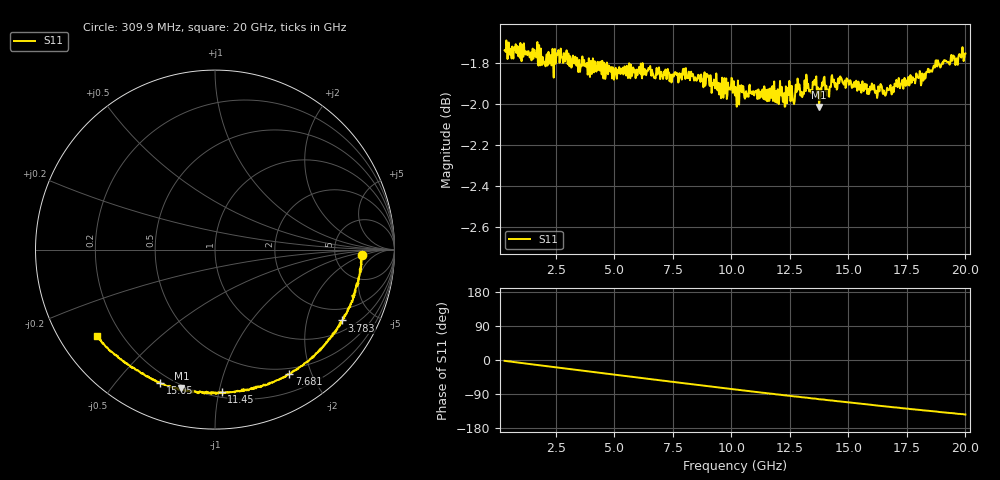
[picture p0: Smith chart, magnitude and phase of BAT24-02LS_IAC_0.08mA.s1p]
! Infineon Technologies  Discrete & RF Semiconductors
! BAT24-02LS
! IAC = 0.08 mA
! One-Port S-Parameters
# Hz  S  MA  R  50
!f  S11
!Hz  Mag  Ang
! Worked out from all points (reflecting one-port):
!   789 points, 309.9 MHz to 20 GHz, reference 50 ohm
!   lowest |S11| = -2.0 dB at 13.75 GHz (marker M1), VSWR 8.66, Z = 9.26 - j38.5 ohm
!   phase of S11 starts at -2 deg and turns -142 deg over the sweep
!   S11 on the Smith chart (normalised r, x): 309.9 MHz: 9.65, -1.87; 3.783 GHz: 1.42, -3.28; 7.681 GHz: 0.42, -1.68; 11.45 GHz: 0.23, -1.02; 15.05 GHz: 0.16, -0.66; 20 GHz: 0.11, -0.32
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3.0985e8  0.8185 -2.2
7.846125e8  0.8213 -5.9
1.634188e9  0.8173 -12.6
2.783612e9  0.8148 -21.5
3.783112e9  0.8111 -29.1
4.432788e9  0.8134 -34.2
5.232388e9  0.8092 -40.4
6.456775e9  0.8105 -49.7
7.681162e9  0.8082 -59.1
7.70615e9  0.8074 -59.3
8.930538e9  0.8077 -68.5
1.015492e10  0.7981 -77.8
1.145428e10  0.7961 -87.3
1.24038e10  0.8015 -93.9
1.262869e10  0.796 -95.7
1.282859e10  0.8057 -96.7
1.302849e10  0.7973 -98.5
1.355322e10  0.8051 -101.8
1.375312e10  0.793 -103.7
1.392804e10  0.8043 -104.4
1.410295e10  0.7979 -105.9
1.432784e10  0.8043 -107.2
1.505248e10  0.804 -112.2
1.507746e10  0.8049 -112.2
1.635182e10  0.8018 -120.7
1.755122e10  0.8062 -128.4
1.892554e10  0.8107 -137.3
2e10  0.8171 -143.9
